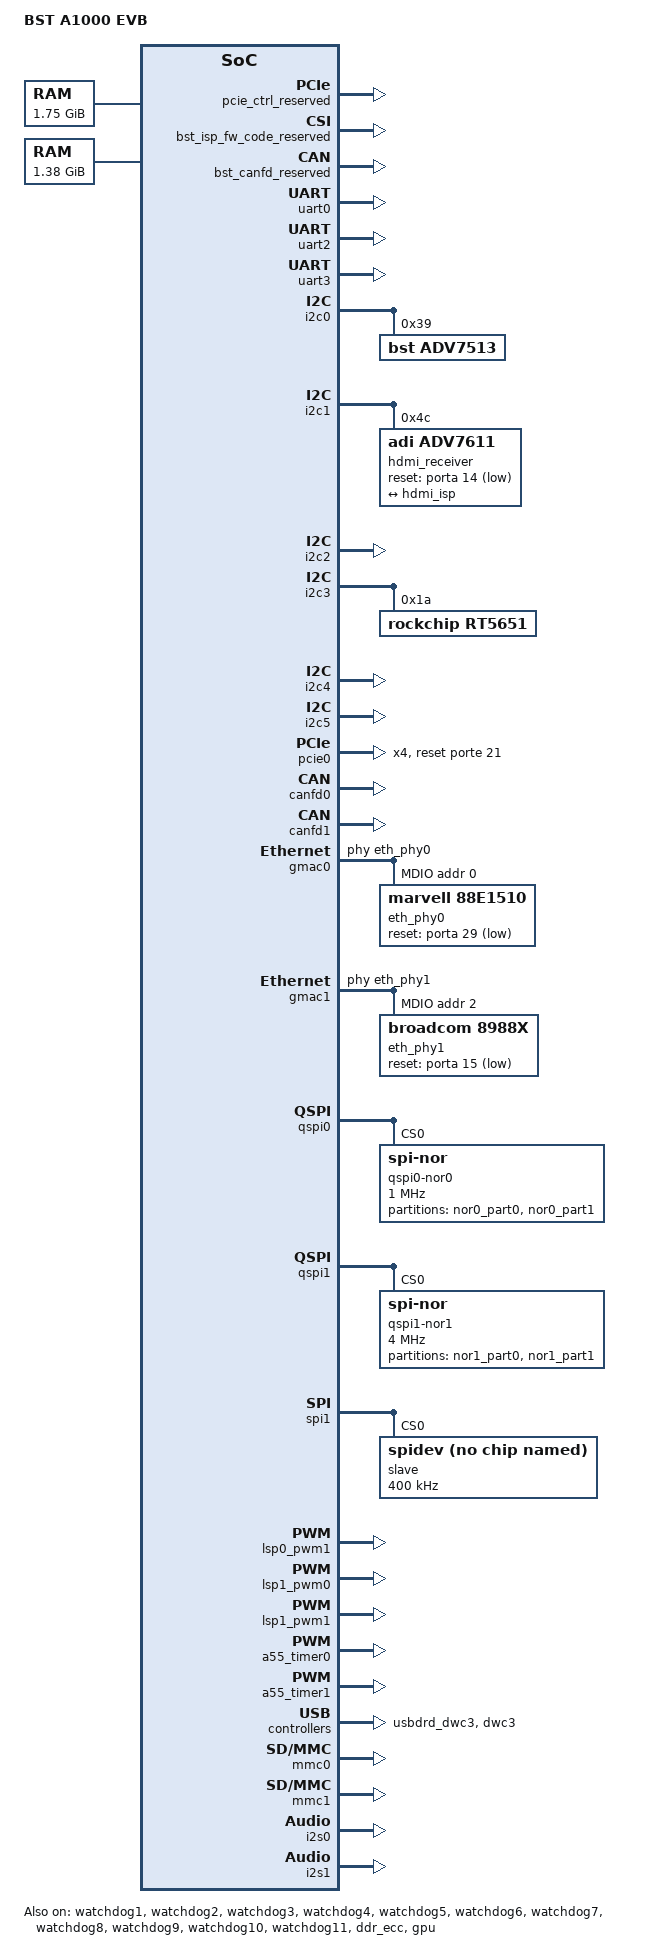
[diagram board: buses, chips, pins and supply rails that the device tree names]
/dts-v1/;
/memreserve/ 0x18000000 0x100000;

#include "bsta1000.dtsi"
#include "isp/evb/evb-configs.dtsi"

/ {
	compatible = "bst,a1000";
	model = "BST A1000 EVB";

	chosen {
		bootargs = "earlycon=uart8250,mmio32,0x20008000 console=ttyS0,115200n8 memreserve=64M@0xf8000000 rdinit=/sbin/init root=/dev/ram rw init=/linuxrc rodata=n";
		stdout-path = "uart0";
	};

	aliases {
		//serial0 = "/amba_apu@0/serial@20008000";
	};
	
	memory@80000000 {
		device_type = "memory";
		reg = <0x00000000 0x80000000 0x00000000 0x70000000>;
	};
	memory@198000000 {
		device_type = "memory";
		reg = <0x00000001 0x98000000 0x00000000 0x58000000>;
	};

    memory1@18000000 {
        device_type = "memory";
        reg = <0x0 0x18000000 0x0 0x100000>;
    };

    reserved-memory {
        #address-cells = <2>;
        #size-cells = <2>;
        ranges;

        pcie_ctrl_reserved: pcie_ctrl@8fd00000 {
			compatible = "bst,pcie-ctrl";
			reg = <0x0 0x8fd00000 0x0 0x100000>;
			no-map;
		};

		bst_atf_reserved: bst_atf@8b000000 {
			compatible = "shared-dma-pool";
			reg = <0x0 0x8b000000 0x0 0x2000000>;
			no-map;
		};

		bst_tee_reserved: bst_tee@8fec0000 {
			compatible = "shared-dma-pool";
			reg = <0x0 0x8fec0000 0x0 0x40000>;
			no-map;
		};

		bst_ipc_reserved: bstn_cma@8ff00000 {
			compatible = "shared-dma-pool";
			reg = <0x0 0x8ff00000 0x0 0x100000>;
			no-map;
		};

		bstn_firmware_reserved: bstn@90000000 {
			compatible = "bst,bstn";
			reg = <0x0 0x90000000 0x0 0x2000000>;
			no-map;
		};

		bst_lwnn_dsp0_firmware_reserved: bst_lwnn@92000000 {
			compatible = "bst,bst_lwnn";
			reg = <0x0 0x92000000 0x0 0x2000000>;
			no-map;
		};

		bst_lwnn_dsp1_firmware_reserved: bst_lwnn@94000000 {
			compatible = "bst,bst_lwnn";
			reg = <0x0 0x94000000 0x0 0x2000000>;
			no-map;
		};

		bst_cv_firmware_reserved: bst_cv@96000000 {
			compatible = "bst,bst_cv";
			reg = <0x0 0x96000000 0x0 0x4000000>;
			no-map;
		};

		bst_cv_reserved: bst_cv_cma@9a000000 {
			compatible = "shared-dma-pool";
			reg = <0x0 0x9a000000 0x0 0x2000000>;
			align-shift = <8>;
			no-map;
		};

		/* reserved for vsp fw code */
		bst_vsp_fw_code_reserved: vsp@0x9c000000 {
			compatible = "shared-dma-pool";
			reg = <0x0 0x9c000000 0x0 0x1000000>;
			no-map;
		};

		/* reserved for vsp fw data */
		vsp_fw_data_reserved: vsp_fw@0x9d000000 {
			reg = <0x0 0x9d000000 0x0 0x4000000>;
			no-map;
		};

		/* reserved for isp fw code */
		bst_isp_fw_code_reserved: bst_isp@0xa1000000 {
			compatible = "shared-dma-pool";
			reg = <0x0 0xa1000000 0x0 0x1000000>;
			no-map;
		};

		/* reserved for isp fw data */
		isp_fw_data_reserved: bst_isp_fw@0xa2000000 {
			reg = <0x0 0xa2000000 0x0 0x10000000>;
			no-map;
		};

		/* coreip public memory pool */
		coreip_reserved: coreip_pub_cma@0xb2000000 {
			compatible = "shared-dma-pool";
			reg = <0x0 0xb2000000 0x0 0x36000000>;
			reusable;
		};

		/* reserved for pmu noc */
		pmu_noc_reserved: pmu_noc@0xe8000000 {
			reg = <0x0 0xe8000000 0x0 0x800000>;
			no-map;
		};

		bst_canfd_reserved: canfd@0xe8800000 {
			compatible = "shared-dma-pool";
			reg = <0x0 0xe8800000 0x0 0x800000>;
			reusable;
		};

		/* reserved for ddr0 high 256M */
		bst_ddr0_reserved: ddr0@0xf0000000 {
			reg = <0x0 0xf0000000 0x0 0x10000000>;
			no-map;
		};

		/* reserved for ddr1 high 256M */
		bst_ddr1_reserved: ddr1@0x1f0000000 {
			reg = <0x1 0xf0000000 0x0 0x10000000>;
			no-map;
		};
	};

    //ipc
    mbox-poll-clients{
        compatible = "bst,ipc-mbox-client";
        reg = <0xfec00020 0x8>,     // dsp
            <0x52030090 0x8> ,      // ISP
            <0x53090008 0x8>,       // VSP
            <0xfec00028 0x8>;       // R5 core0

        #mbox-cells = <0x1>;
        phandle = <0xe>;
    };
    bstn-mbox {
        compatible = "bstn,bstn-mbox";
        // zcu102+vu440
        reg =   <0x0 0x33102000 0x0 0x2000>,
                      <0x0 0x33100000 0x0 0x2000>,
                      <0x0 0x80000000 0x0 0x4>,
                      <0x0 0x80002000 0x0 0x4>;
        fpga-reset = <1>;
        memory-region = <&bst_ipc_reserved>;
        // id = <0x0>;
        assigned-mem-size = <0x1000>;
        interrupt-parent = <&gic400>;
        interrupts =    <
                        GIC_SPI 113 (GIC_CPU_MASK_SIMPLE(8) | IRQ_TYPE_LEVEL_HIGH)
                        GIC_SPI 114 (GIC_CPU_MASK_SIMPLE(8) | IRQ_TYPE_LEVEL_HIGH)
                        GIC_SPI 115 (GIC_CPU_MASK_SIMPLE(8) | IRQ_TYPE_LEVEL_HIGH)
                        GIC_SPI 116 (GIC_CPU_MASK_SIMPLE(8) | IRQ_TYPE_LEVEL_HIGH)
                        GIC_SPI 117 (GIC_CPU_MASK_SIMPLE(8) | IRQ_TYPE_LEVEL_HIGH)
                        GIC_SPI 118 (GIC_CPU_MASK_SIMPLE(8) | IRQ_TYPE_LEVEL_HIGH)
                        GIC_SPI 119 (GIC_CPU_MASK_SIMPLE(8) | IRQ_TYPE_LEVEL_HIGH)
                        GIC_SPI 120 (GIC_CPU_MASK_SIMPLE(8) | IRQ_TYPE_LEVEL_HIGH)>;

        #mbox-cells = <0x1>;
        phandle = <0xea>;
    };
    
    bstn@0 {
        #address-cells = <0x2>;
        #size-cells = <0x2>;
        compatible = "bst,bstn,cma";
        reg = <0x0 0x50020000 0x0 0x100
            0x0 0x90000000 0x0 0x2000000>;
        memory-region = <&coreip_reserved>;
        //the following two properties must be consistent with bstn_reserved
        rmem-base = <0x0 0xb2000000>;
        rmem-size = <0x0 0x36000000>;
        id = <0x0>;
        assigned-mem-size = <0x1000>;
        //the offset between the DDR physical address and the corresponding device bus address
        bus-offset = <0x0 0x0>;
        mbox-names = "bstn-mbox";
        mboxes = <0xea 0x8>;
        firmware = "bstn_dsp_rt.rbf";
    };

    bst_cv@0x51030000 {
        #address-cells = <0x2>;
        #size-cells = <0x2>;
        compatible = "bst,bst_cv,cma";
        reg =   <0x0 0x51030000 0x0 0x100
                0x0 0x96000000 0x0 0x2000000
                0x0 0x98000000 0x0 0x2000000
                0x0 0x92000000 0x0 0x2000000
                0x0 0x94000000 0x0 0x2000000>;
        memory-region = <&bst_cv_reserved>;
        assigned-mem-size = <0x4000>;
        //the offset between the DDR physical address and the corresponding device bus address
        bus-offset = <0x0 0x0>;
        mbox-names = "bstn-mbox";
        mboxes = <0xea 0x9>;
        dsp-num = <0x4>;
        ipc-register-addr = <0x8ff00000>;
        dsp@0x96000000 {
            index = <0x0>;
            firmware = "bst_cv_dsp_rt.rbf";
            assigned-mem-size = <0x1000>;
            rt-init-addr = <0x967ff000>;
            //ipc source ARM core index of the CV driver
            ipc-src-core = <0x3>;
        };
        dsp@0x98000000 {
            index = <0x1>;
            firmware = "bst_cv_dsp1_rt.rbf";
            assigned-mem-size = <0x1000>;
            rt-init-addr = <0x987ff000>;
            //ipc source ARM core index of the CV driver
            ipc-src-core = <0x3>;
        };
        dsp@0x92000000 {
            index = <0x2>;
            firmware = "bst_cv_dsp2_rt.rbf";
            assigned-mem-size = <0x1000>;
            rt-init-addr = <0x927ff000>;
            //ipc source ARM core index of the CV driver
            ipc-src-core = <0x3>;
        };
        dsp@0x94000000 {
            index = <0x3>;
            firmware = "bst_cv_dsp3_rt.rbf";
            assigned-mem-size = <0x1000>;
            rt-init-addr = <0x947ff000>;
            //ipc source ARM core index of the CV driver
            ipc-src-core = <0x3>;
        };
    };

    bst_lwnn@0x51030000 {
        compatible = "bst,bst_lwnn,cma";
        reg =   <0x0 0x51030000 0x0 0x100
                0x0 0x92000000 0x0 0x2000000
                0x0 0x94000000 0x0 0x2000000>;
        memory-region = <&coreip_reserved>;
        //the offset between the DDR physical address and the corresponding device bus address
        bus-offset = <0x0 0x0>;
        mbox-names = "bst-lwnn-mbox";

        dsp-num = <0x2>;
        ipc-register-addr = <0x8ff00000>;
        dsp@0x92000000 {
            index = <0x2>;
            firmware = "bst_lwnn_dsp2_rt.rbf";
            assigned-mem-size = <0x2000>;
            rt-init-addr = <0x927ff000>;
            //ipc source ARM core index of the LWNN driver
            ipc-src-core = <0x6>;
        };
        dsp@0x94000000 {
            index = <0x3>;
            firmware = "bst_lwnn_dsp3_rt.rbf";
            assigned-mem-size = <0x2000>;
            rt-init-addr = <0x947ff000>;
            //ipc source ARM core index of the LWNN driver
            ipc-src-core = <0x0>;
        };    
    };

	ipc_vsp@0 {
		#address-cells = <0x2>;
		#size-cells = <0x2>;
		compatible = "bst,bst-vsp-ipc";
		reg = <0x0 0x9c000000 0x0 0x100000
				0x0 0x9c100000 0x0 0x80000
				0x0 0x9c180000 0x0 0x80000
				0x0 0x53090004 0x0 0x4
				0x0 0x53090010 0x0 0xc
				0x0 0x33102fbc 0x0 0x4
				0x0 0x9d000000 0x0 0x4000000>;
		memory-region = <&bst_vsp_fw_code_reserved>;
		mbox-names = "bstn-mbox"; // need
		mboxes = <0xea 0x7>;
	};

	vsp@1 {
		#address-cells = <0x2>;
		#size-cells = <0x2>;
		compatible = "bst,bst-vsp";
		memory-region = <&coreip_reserved>;
		assigned-mem-size = <0x1000>;

                clocks = <&clkc LB_VSP_DISP_CLK>;
                clock-names = "vout_display_clk";
                output-format = "HDMI_YUV444";      //HDMI_YUV444, HDMI_RGB, RGB888(LVDS)
                output-hsize = <1920>;              // for HDMI
                output-vsize = <1080>;              // for HDMI
                output-fresh = <60>;                // for HDMI
	};

	gmwarp@0 {
		#address-cells = <0x2>;
		#size-cells = <0x2>;
		compatible = "bst,bst-gmwarp";
		memory-region = <&coreip_reserved>;
	};

	encoder@0 {
		#address-cells = <0x2>;
		#size-cells = <0x2>;
		compatible = "bst,bst-encoder";
		memory-region = <&coreip_reserved>;
	};

    firmware {
		optee {
			compatible = "linaro,optee-tz";
			method = "smc";
            chip-number = <2>;
		};
	};
    
    tee {
        #address-cells = <0x2>;
        #size-cells = <0x2>;
        reg = <0x0 0x18060000 0x0 0x20000>;
        memory-region = <&bst_tee_reserved>;
        mbox-names = "bstn-mbox";
        chip-number = <1>;
    };

    ipc_arm0@0 {
        #address-cells = <0x2>;
        #size-cells = <0x2>;
        compatible = "bst,arm0";
        reg = <0x4 0xfec00000 0x0 0x20 0x4 0x80000000 0x0 0x20000>;
        memory-region = <&bst_ipc_reserved>;
        //id = <0x0>;
        //ipc-resource-id = <0>;   // ipc add, refer to mbox-poll-clients :reg <0>
        assigned-mem-size = <0x1000>;
        // bstn-offset = <0x4 0x0>;
        mbox-names = "bstn-mbox";
        mboxes = <0xea 0x0>;
    };

    ipc_arm3@3 {
        #address-cells = <0x2>;
        #size-cells = <0x2>;
        compatible = "bst,arm3";
        reg = <0x4 0xfec10000 0x0 0x20 0x4 0x80000000 0x0 0x20000>;
        memory-region = <&bst_ipc_reserved>;
        // id = <0x1>;
        //ipc-resource-id = <0>;   // ipc add, refer to mbox-poll-clients :reg <0>
        assigned-mem-size = <0x1000>;
        //bstn-offset = <0x4 0x0>;
        mbox-names = "bstn-mbox";
        mboxes = <0xea 0x3>;
    };

    ipc_arm2@2 {
        #address-cells = <0x2>;
        #size-cells = <0x2>;
        compatible = "bst,arm2";
        reg = <0x4 0xfec10000 0x0 0x20 0x4 0x80000000 0x0 0x20000>;
        memory-region = <&bst_ipc_reserved>;
        // id = <0x1>;
        //ipc-resource-id = <0>;   // ipc add, refer to mbox-poll-clients :reg <0>
        assigned-mem-size = <0x1000>;
        //bstn-offset = <0x4 0x0>;
        mbox-names = "bstn-mbox";
        mboxes = <0xea 0x2>;
    };

    ipc_arm1@1 {
        #address-cells = <0x2>;
        #size-cells = <0x2>;
        compatible = "bst,arm1";
        reg = <0x4 0xfec10000 0x0 0x20 0x4 0x80000000 0x0 0x20000>;
        memory-region = <&bst_ipc_reserved>;
        //id = <0x1>;
        //ipc-resource-id = <0>;   // ipc add, refer to mbox-poll-clients :reg <0>
        assigned-mem-size = <0x1000>;
        // bstn-offset = <0x4 0x0>;
        mbox-names = "bstn-mbox";
        mboxes = <0xea 0x1>;
    };
    ipc@0 {
        #address-cells = <0x2>;
        #size-cells = <0x2>;
        compatible = "bst,ipc";
        reg = <0x4 0xfec00000 0x0 0x20 0x4 0x80000000 0x0 0x20000>;
        memory-region = <&bst_ipc_reserved>;
        // id = <0x0>;
        assigned-mem-size = <0x1000>;
        // bstipc-offset = <0x4 0x0>;
        mbox-names = "bstn-mbox";
        mboxes = <0xea 0x5>;
        //firmware = "dsp_rt.rbf";
    };
	rt5651-sound {			//machine 匹配层的驱动节点。
		status = "okay";	//默认打开
		compatible = "simple-audio-card";	//simple-card framework框架
		simple-audio-card,format = "i2s";
		simple-audio-card,name = "realtek,rt5651-codec";
		simple-audio-card,mclk-fs = <256>;	//主控供给编解码芯片用的时钟
		simple-audio-card,widgets =		//指定相关组件
			"Microphone", "Mic Jack",	//mic
			"Headphone", "Headphone Jack";	//耳机
		simple-audio-card,routing =	//音频路径,如mic输入、耳机输出走那些通路。
			"Mic Jack", "MICBIAS1",
			"IN1P", "Mic Jack",
			"Headphone Jack", "HPOL",
			"Headphone Jack", "HPOR";

		simple-audio-card,cpu {
			sound-dai = <&i2s0>;	//指定cpu接入音频编解码的dai(数字化接口)
		};

		simple-audio-card,codec {
			sound-dai = <&rt5651>;	//指定编解码音频接入cpu的dai(数字化接口)
		};
	};
};

&pinctrl {
    status = "okay";
};

&uart0 {
    status = "okay";
};
&uart1 {
    status = "disable";
};
&uart2 {
    status = "okay";
};
&uart3 {
    status = "okay";
};

&i2c0 {
    status = "okay";
	#address-cells = <1>;
	#size-cells = <0>;

	adv7513@39 {
		compatible = "bst,adv7513";
		reg = <0x39>;
	};
};
&i2c1 {
    status = "okay";
    #address-cells = <1>;
    #size-cells = <0>;

    hdmi_receiver@4c {
        compatible = "adi,adv7611";
        reg = <0x4c>;
        reg-names = "main", "edid";
        reset-gpios = <&porta 14 1>;
        pinctrl-names = "default";
        default-input = <0>;

        data-type = <0x1e>;
        size = <1920 1080>;
        dvp-dummy = <0xaaa0>; //[15:x]=dummydata [x:0]=0
        view0-fmt = <1>;
        view0-size = <1920 1080>;
        view1-fmt = <1>;
        view1-size = <1280 720>;
        pdns-mode = <0>;
        pdns-input-view = <0>;
        hblank = <0>;

        port {
            hdmi_in: endpoint {
                remote-endpoint = <&hdmi_isp>;
            };
        };
    };
};
&i2c2 {
    status = "okay";
};
&i2c3 {
    status = "okay";
    #address-cells = <1>;
    #size-cells = <0>;
    rt5651: rt5651@1a {
        compatible = "rockchip,rt5651";
        reg = <0x1a>;
        #sound-dai-cells = <0>;
   };   
};
&i2c4 {
    status = "okay";
};
&i2c5 {
    status = "okay";
};

&gdma0 {
    status = "okay";
};

#if 0 //ep
&pcie_phy {
    dmc-lane = <0x0>; /* bit0: 1=2x2ports, 0=1x4ports */
    dmc-mode = <0x0>; /* bit1: 1=RC-mode, 0=EP-mode */
    pcie-ctl0 = <1>;  /* Controller reset */
    pcie-ctl1 = <0>;  /* Controller reset */
};

&pcie0_ep {
    status = "okay";
    reset-gpio = <&porte 21 0>; //pcie0 reset gpio 149
    //ssd-en-gpio = <&portc 15 0>;
    max-link-speed = <3>;
    num-lanes = <4>;
    picp-ctl = "dma";
};
#else //rc
&pcie_phy {
    dmc-lane = <0x0>; /* bit0: 1=2x2ports, 0=1x4ports */
    dmc-mode = <0x2>; /* bit1: 1=RC-mode, 0=EP-mode */
    pcie-ctl0 = <1>;  /* Controller reset */
    pcie-ctl1 = <0>;  /* Controller reset */
};

&pcie0 {
    status = "okay";
    reset-gpio = <&porte 21 0>; //pcie0 reset gpio 149
    //ssd-en-gpio = <&portc 15 0>;
    max-link-speed = <3>;
    num-lanes = <4>;
    picp-ctl = "mem";
};
#endif

&canfd0 {
    status = "okay";
    memory-region = <&bst_canfd_reserved>;
};
&canfd1 {
    status = "okay";
    //memory-region = <&bst_canfd_reserved>;
};
&gpio0 {
    status = "okay";

    /* gpio_special_func_pinctrl:gpio_num_29 gmac0 reset pin; debug_4 and debug_5 as gpio */
    pinctrl-0 = <&gpio0_pinctrl &gpio_special_func_pinctrl>;
};
&gpio1 {
    status = "okay";
};
               

&gmac0 {
    status = "okay";
    mac-mode = "rgmii";
    phy-handle = <&eth_phy0>;
    extend-op = <1>;
    mdio {
        compatible = "snps,dwmac-mdio";
        #address-cells = <1>;
        #size-cells = <0>;
        eth_phy0: eth_phy0@0 {
            compatible = "marvell,88E1510", "ethernet-phy-id0141.0DD1", "ethernet-phy-ieee802.3-c22";
            device_type = "ethernet-phy";
            /* On - Link, Blink - Activity, Off - No Link - Dual LED mode*/
            marvell,reg-init = <3 0x10 0 0x101e>;
            max-speed = <1000>;
            reg = <0x0>;
            reset-gpios = <&porta 29 1>;
            reset-assert-us = <20000>;
            reset-deassert-us = <20000>;
        };
    };
};

&gmac1 {
    status = "okay";
    mac-mode = "rgmii";
    phy-handle = <&eth_phy1>;
    extend-op = <1>;
    mdio1 {
        compatible = "snps,dwmac-mdio";
        #address-cells = <1>;
        #size-cells = <0>;
        eth_phy1: eth_phy1@1 {
            compatible = "broadcom,8988x", "ethernet-phy-idAE02.5031", "ethernet-phy-ieee802.3-c45";
            device_type = "ethernet-phy";
            max-speed = <1000>;
            reg = <0x2>;
            reset-gpios = <&porta 15 1>;
            reset-active-low;          
            reset-assert-us = <20000>;
            reset-deassert-us = <20000>;
        };
    };
};

&qspi0 {
    status = "okay";
    //wp_mode;
    qspi0-nor0@0 {
        #address-cells = <1>;
        #size-cells = <1>;
        spi-rx-bus-width = <1>;
        spi-tx-bus-width = <1>;
        compatible = "jedec,spi-nor";
        status = "okay";
        spi-max-frequency = <1000000>;
        reg = <0>;
        mode = <0>;

        partition@0 {
            reg = <0 0x1e00000>;
            label = "nor0_part0";
        };
        partition@1e00000 {
            reg = <0x1e00000 0x200000>;
            label = "nor0_part1";
        };
    };
};

&qspi1 {
    status = "okay";
    qspi1-nor1@0 {
        #address-cells = <1>;
        #size-cells = <1>;
        spi-rx-bus-width = <1>;
        spi-tx-bus-width = <1>;
        compatible = "jedec,spi-nor";
        status = "okay";
        spi-max-frequency = <4000000>;
        reg = <0>;
        mode = <0>;
                
        partition@0 {
            reg = <0 0x1e00000>;
            label = "nor1_part0";
        };
        partition@1e00000 {
            reg = <0x1e00000 0x200000>;
            label = "nor1_part1";
        };
    };
};

&spi0 {
    status = "disable";
    spi0-nor0@0 {
        compatible = "jedec,spi-nor";
        status = "okay";
        reg = <0>;
        spi-max-frequency = <10000000>;
    };
};
&spi1 {
    status = "okay";
    slave@0 {
            compatible = "spidev";
            reg = <0>;
            spi-max-frequency = <400000>;
    };
};

&watchdog0 {
    status = "disable";
};
&watchdog1 {
    status = "okay";
};
&watchdog2 {
    status = "okay";
};
&watchdog3 {
    status = "okay";
};
&watchdog4 {
    status = "okay";
};
&watchdog5 {
    status = "okay";
};
&watchdog6 {
    status = "okay";
};
&watchdog7 {
    status = "okay";
};
&watchdog8 {
    status = "okay";
};
&watchdog9 {
    status = "okay";
};
&watchdog10 {
    status = "okay";
};
&watchdog11 {
    status = "okay";
};

&ddr_ecc {
    status = "okay";
};

&arm_pmu {
    status = "okay";
};

&lsp0_pwm0 {
	/* safety used lsp0-timer-ch0 */
	/* must be disable */
    status = "disable";
};
&lsp0_pwm1 {
    status = "okay";
};
&lsp1_pwm0 {
    status = "okay";
};
&lsp1_pwm1 {
    status = "okay";
};

&a55_timer0 {
    status = "okay";
};

&a55_timer1 {
    status = "okay";
};
&usb3_pinctrl {
    mux {
        pins = "gpio_25";
        function = "gpio";
    };
};

&usbdrd_dwc3 {
    status = "okay";
    powerctl-gpios = <&porta 25 GPIO_ACTIVE_HIGH>;
	pinctrl-names = "default";
	pinctrl-0 = <&usb3_pinctrl>;
};

&dwc3 {
    status = "okay";
};


&mmc0 {
    status = "okay";
};

&mmc1 {
    status = "okay";
};

&i2s0 {
    status = "okay";
};

&i2s1 {
    status = "okay";
};
&thermal {
    status = "okay";
};
&gpu {
    status = "okay";
};
